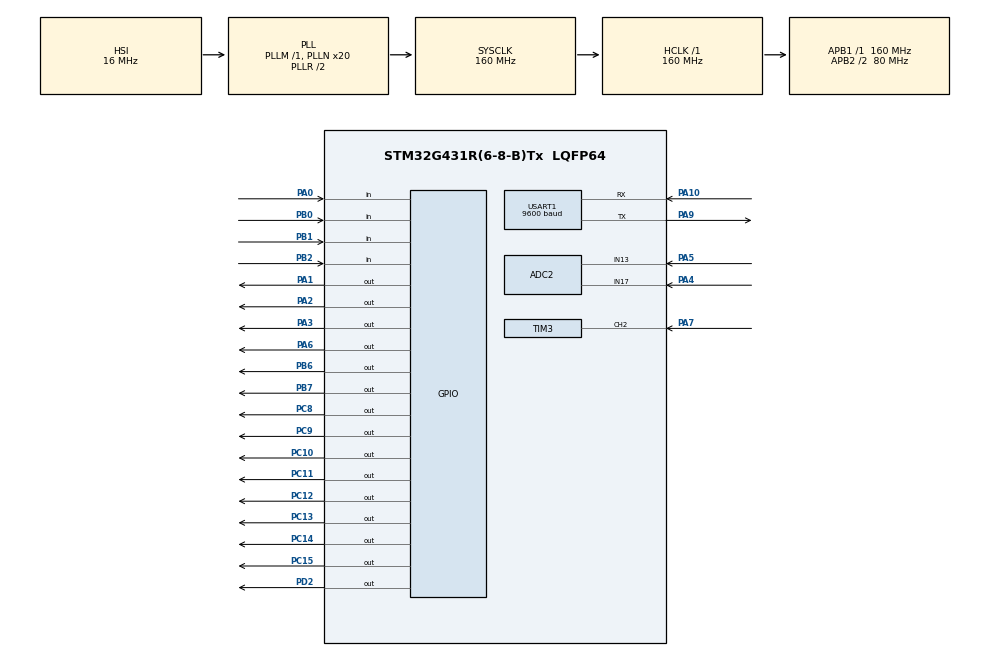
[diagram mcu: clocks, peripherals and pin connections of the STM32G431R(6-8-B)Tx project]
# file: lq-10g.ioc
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ADC2.Channel-0\#ChannelRegularConversion=ADC_CHANNEL_17
ADC2.Channel-1\#ChannelRegularConversion=ADC_CHANNEL_13
ADC2.ContinuousConvMode=DISABLE
ADC2.DMAContinuousRequests=DISABLE
ADC2.EOCSelection=ADC_EOC_SEQ_CONV
ADC2.ExternalTrigConv=ADC_SOFTWARE_START
ADC2.NbrOfConversion=2
ADC2.NbrOfConversionFlag=1
ADC2.OffsetNumber-0\#ChannelRegularConversion=ADC_OFFSET_NONE
ADC2.OffsetNumber-1\#ChannelRegularConversion=ADC_OFFSET_NONE
ADC2.Rank-0\#ChannelRegularConversion=1
ADC2.Rank-1\#ChannelRegularConversion=2
ADC2.SamplingTime-0\#ChannelRegularConversion=ADC_SAMPLETIME_2CYCLES_5
ADC2.SamplingTime-1\#ChannelRegularConversion=ADC_SAMPLETIME_2CYCLES_5
Dma.ADC2.1.Direction=DMA_PERIPH_TO_MEMORY
Dma.ADC2.1.EventEnable=DISABLE
Dma.ADC2.1.Instance=DMA2_Channel1
Dma.ADC2.1.MemDataAlignment=DMA_MDATAALIGN_HALFWORD
Dma.ADC2.1.MemInc=DMA_MINC_ENABLE
Dma.ADC2.1.Mode=DMA_CIRCULAR
Dma.ADC2.1.PeriphDataAlignment=DMA_PDATAALIGN_WORD
Dma.ADC2.1.PeriphInc=DMA_PINC_DISABLE
Dma.ADC2.1.Polarity=HAL_DMAMUX_REQ_GEN_RISING
Dma.ADC2.1.Priority=DMA_PRIORITY_LOW
Dma.ADC2.1.RequestNumber=1
Dma.ADC2.1.SignalID=NONE
Dma.ADC2.1.SyncEnable=DISABLE
Dma.ADC2.1.SyncPolarity=HAL_DMAMUX_SYNC_NO_EVENT
Dma.ADC2.1.SyncRequestNumber=1
Dma.ADC2.1.SyncSignalID=NONE
Dma.Request0=USART1_RX
Dma.Request1=ADC2
Dma.Request2=TIM3_CH2
Dma.TIM3_CH2.2.Direction=DMA_PERIPH_TO_MEMORY
Dma.TIM3_CH2.2.EventEnable=DISABLE
Dma.TIM3_CH2.2.Instance=DMA1_Channel2
Dma.TIM3_CH2.2.MemDataAlignment=DMA_MDATAALIGN_WORD
Dma.TIM3_CH2.2.MemInc=DMA_MINC_ENABLE
Dma.TIM3_CH2.2.Mode=DMA_NORMAL
Dma.TIM3_CH2.2.PeriphDataAlignment=DMA_PDATAALIGN_HALFWORD
Dma.TIM3_CH2.2.PeriphInc=DMA_PINC_DISABLE
Dma.TIM3_CH2.2.Polarity=HAL_DMAMUX_REQ_GEN_RISING
Dma.TIM3_CH2.2.Priority=DMA_PRIORITY_LOW
Dma.TIM3_CH2.2.RequestNumber=1
Dma.TIM3_CH2.2.SignalID=NONE
Dma.TIM3_CH2.2.SyncEnable=DISABLE
Dma.TIM3_CH2.2.SyncPolarity=HAL_DMAMUX_SYNC_NO_EVENT
Dma.TIM3_CH2.2.SyncRequestNumber=1
Dma.TIM3_CH2.2.SyncSignalID=NONE
Dma.USART1_RX.0.Direction=DMA_PERIPH_TO_MEMORY
Dma.USART1_RX.0.EventEnable=DISABLE
Dma.USART1_RX.0.Instance=DMA1_Channel1
Dma.USART1_RX.0.MemDataAlignment=DMA_MDATAALIGN_BYTE
Dma.USART1_RX.0.MemInc=DMA_MINC_ENABLE
Dma.USART1_RX.0.Mode=DMA_NORMAL
Dma.USART1_RX.0.PeriphDataAlignment=DMA_PDATAALIGN_BYTE
Dma.USART1_RX.0.PeriphInc=DMA_PINC_DISABLE
Dma.USART1_RX.0.Polarity=HAL_DMAMUX_REQ_GEN_RISING
Dma.USART1_RX.0.Priority=DMA_PRIORITY_LOW
Dma.USART1_RX.0.RequestNumber=1
Dma.USART1_RX.0.SignalID=NONE
Dma.USART1_RX.0.SyncEnable=DISABLE
Dma.USART1_RX.0.SyncPolarity=HAL_DMAMUX_SYNC_NO_EVENT
Dma.USART1_RX.0.SyncRequestNumber=1
Dma.USART1_RX.0.SyncSignalID=NONE
Mcu.Family=STM32G4
Mcu.Name=STM32G431R(6-8-B)Tx
Mcu.Package=LQFP64
NVIC.DMA1_Channel1_IRQn=true\:0\:0\:false\:false\:true\:false\:true\:true
NVIC.DMA1_Channel2_IRQn=true\:0\:0\:false\:false\:true\:false\:true\:true
NVIC.DMA2_Channel1_IRQn=true\:0\:0\:false\:false\:true\:false\:true\:true
NVIC.PriorityGroup=NVIC_PRIORITYGROUP_4
NVIC.TIM3_IRQn=true\:0\:0\:false\:false\:true\:true\:true\:true
NVIC.TIM6_DAC_IRQn=true\:0\:0\:false\:false\:true\:true\:true\:true
NVIC.TIM7_IRQn=true\:0\:0\:false\:false\:true\:true\:true\:true
NVIC.USART1_IRQn=true\:0\:0\:false\:false\:true\:true\:true\:true
PA0.Signal=GPIO_Input
PA1.Signal=GPIO_Output
PA10.Mode=Asynchronous
PA10.Signal=USART1_RX
PA13.Mode=Serial_Wire
PA13.Signal=SYS_JTMS-SWDIO
PA14.Mode=Serial_Wire
PA14.Signal=SYS_JTCK-SWCLK
PA2.Signal=GPIO_Output
PA3.Signal=GPIO_Output
PA4.Mode=IN17-Single-Ended
PA4.Signal=ADC2_IN17
PA5.Mode=IN13-Single-Ended
PA5.Signal=ADC2_IN13
PA6.Signal=GPIO_Output
PA7.Signal=S_TIM3_CH2
PA9.Mode=Asynchronous
PA9.Signal=USART1_TX
PB0.GPIO_Mode=GPIO_MODE_INPUT
PB0.GPIO_PuPd=GPIO_PULLUP
PB0.Signal=GPIO_Input
PB1.GPIO_Mode=GPIO_MODE_INPUT
PB1.GPIO_PuPd=GPIO_PULLUP
PB1.Signal=GPIO_Input
PB2.GPIO_Mode=GPIO_MODE_INPUT
PB2.GPIO_PuPd=GPIO_PULLUP
PB2.Signal=GPIO_Input
PB6.Signal=GPIO_Output
PB7.Signal=GPIO_Output
PC10.GPIO_ModeDefaultOutputPP=GPIO_MODE_OUTPUT_PP
PC10.GPIO_PuPd=GPIO_PULLUP
PC10.GPIO_Speed=GPIO_SPEED_FREQ_LOW
PC10.PinState=GPIO_PIN_SET
PC10.Signal=GPIO_Output
PC11.GPIO_ModeDefaultOutputPP=GPIO_MODE_OUTPUT_PP
PC11.GPIO_PuPd=GPIO_PULLUP
PC11.GPIO_Speed=GPIO_SPEED_FREQ_LOW
PC11.PinState=GPIO_PIN_SET
PC11.Signal=GPIO_Output
PC12.GPIO_ModeDefaultOutputPP=GPIO_MODE_OUTPUT_PP
PC12.GPIO_PuPd=GPIO_PULLUP
PC12.GPIO_Speed=GPIO_SPEED_FREQ_LOW
PC12.PinState=GPIO_PIN_SET
PC12.Signal=GPIO_Output
PC13.GPIO_ModeDefaultOutputPP=GPIO_MODE_OUTPUT_PP
PC13.GPIO_PuPd=GPIO_PULLUP
PC13.GPIO_Speed=GPIO_SPEED_FREQ_LOW
PC13.PinState=GPIO_PIN_SET
PC13.Signal=GPIO_Output
PC14-OSC32_IN.GPIO_ModeDefaultOutputPP=GPIO_MODE_OUTPUT_PP
PC14-OSC32_IN.GPIO_PuPd=GPIO_PULLUP
PC14-OSC32_IN.GPIO_Speed=GPIO_SPEED_FREQ_LOW
PC14-OSC32_IN.PinState=GPIO_PIN_SET
PC14-OSC32_IN.Signal=GPIO_Output
PC15-OSC32_OUT.GPIO_ModeDefaultOutputPP=GPIO_MODE_OUTPUT_PP
PC15-OSC32_OUT.GPIO_PuPd=GPIO_PULLUP
PC15-OSC32_OUT.GPIO_Speed=GPIO_SPEED_FREQ_LOW
PC15-OSC32_OUT.PinState=GPIO_PIN_SET
PC15-OSC32_OUT.Signal=GPIO_Output
PC8.GPIO_ModeDefaultOutputPP=GPIO_MODE_OUTPUT_PP
PC8.GPIO_PuPd=GPIO_PULLUP
PC8.GPIO_Speed=GPIO_SPEED_FREQ_LOW
PC8.PinState=GPIO_PIN_SET
PC8.Signal=GPIO_Output
PC9.GPIO_ModeDefaultOutputPP=GPIO_MODE_OUTPUT_PP
PC9.GPIO_PuPd=GPIO_PULLUP
PC9.GPIO_Speed=GPIO_SPEED_FREQ_LOW
PC9.PinState=GPIO_PIN_SET
PC9.Signal=GPIO_Output
PD2.GPIO_PuPd=GPIO_PULLUP
PD2.PinState=GPIO_PIN_SET
PD2.Signal=GPIO_Output
PF0-OSC_IN.Mode=HSE-External-Oscillator
PF0-OSC_IN.Signal=RCC_OSC_IN
PF1-OSC_OUT.Mode=HSE-External-Oscillator
PF1-OSC_OUT.Signal=RCC_OSC_OUT
ProjectManager.HeapSize=0x200
ProjectManager.StackSize=0x400
ProjectManager.TargetToolchain=MDK-ARM V5
RCC.ADC12Freq_Value=160000000
RCC.AHBFreq_Value=160000000
RCC.APB1Freq_Value=160000000
RCC.APB1TimFreq_Value=160000000
RCC.APB2CLKDivider=RCC_HCLK_DIV2
RCC.APB2Freq_Value=80000000
RCC.APB2TimFreq_Value=160000000
RCC.CortexFreq_Value=160000000
RCC.EXTERNAL_CLOCK_VALUE=12288000
RCC.HCLKFreq_Value=160000000
RCC.HSE_VALUE=8000000
RCC.HSI48_VALUE=48000000
RCC.HSI_VALUE=16000000
RCC.LSE_VALUE=32768
RCC.PLLN=20
RCC.SYSCLKFreq_VALUE=160000000
RCC.SYSCLKSource=RCC_SYSCLKSOURCE_PLLCLK
RCC.USART1CLockSelection=RCC_USART1CLKSOURCE_SYSCLK
RCC.USBFreq_Value=160000000
RCC.VCOOutputFreq_Value=320000000
SH.S_TIM3_CH2.0=TIM3_CH2,PWM_Input_2
TIM3.ICPolarity_1=TIM_INPUTCHANNELPOLARITY_FALLING
TIM3.Prescaler=159
TIM6.AutoReloadPreload=TIM_AUTORELOAD_PRELOAD_ENABLE
TIM6.PeriodNoDither=19999
TIM6.Prescaler=15999
TIM7.AutoReloadPreload=TIM_AUTORELOAD_PRELOAD_ENABLE
TIM7.PeriodNoDither=1999
TIM7.Prescaler=1599
TIM7.TIM_MasterOutputTrigger=TIM_TRGO_UPDATE
USART1.BaudRate=9600
USART1.VirtualMode-Asynchronous=VM_ASYNC
VP_SYS_VS_DBSignals.Mode=DisableDeadBatterySignals
VP_TIM6_VS_ClockSourceINT.Mode=Enable_Timer
VP_TIM7_VS_ClockSourceINT.Mode=Enable_Timer
board=custom

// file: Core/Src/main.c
/* USER CODE BEGIN Header */
/**
  ******************************************************************************
  * @file           : main.c
  * @brief          : Main program body
  ******************************************************************************
  * @attention
  *
  * Copyright (c) 2023 STMicroelectronics.
  * All rights reserved.
  *
  * This software is licensed under terms that can be found in the LICENSE file
  * in the root directory of this software component.
  * If no LICENSE file comes with this software, it is provided AS-IS.
  *
  ******************************************************************************
  */
/* USER CODE END Header */
#include "main.h"
#include "adc.h"
#include "dma.h"
#include "tim.h"
#include "usart.h"
#include "gpio.h"

/* USER CODE BEGIN Includes */
#include <stdio.h>
#include <stdlib.h>
#include <stdbool.h>
#include <stdbool.h>
#include <stdarg.h>
#include <string.h>
#include "lcd.h"
#include "i2c.h"
/* USER CODE END Includes */

/* USER CODE BEGIN PM */
#define lcd(x, s) LCD_DisplayStringLine(24 * x, (uint8_t *)s)
#define a1u() lcd(3, format("    A01: %.2f   ", adcIn[0] * 3.3f / 4096))
#define a2u() lcd(4, format("    A02: %.2f   ", adcIn[1] * 3.3f / 4096))
#define p2u() lcd(5, format("    PWM2:%d%%   ", pwmH[0] * 100 / pwmT[0]))
#define cgu() lcd(7, format("    N:   %d     ", changes))
#define lmu() lcd(3, format("    T: %d    ", lim));
#define chu() lcd(4, format("    X: %d    ", (int)adcCh2 + 1));
/* USER CODE END PM */

/* USER CODE BEGIN PV */

char	  	fmtBuf[32] 	= {0};
uint16_t 	adcIn[2]	= {0};
uint32_t	pwmT[10]	= {0};
uint32_t	pwmH[10]	= {0};
uint8_t		rxBuf[32]	= {0};
uint32_t	b1In		= 0xFFFFFFFF;
uint32_t	b2In		= 0xFFFFFFFF;
uint32_t	b3In		= 0xFFFFFFFF;
uint32_t	b4In		= 0xFFFFFFFF;
bool		b1a			= true;
bool		b2a			= true;
bool		b3a			= true;
bool		b4a			= true;

bool		para		= false;
bool		adcCh2		= false;
bool		selT		= true;

uint32_t	changes		= 0;
uint32_t	lim			= 30;

bool 		adcCh2t		= false;
uint32_t	limt		= 30;

/* USER CODE END PV */

void SystemClock_Config(void);
/* USER CODE BEGIN PFP */

void eeAdd(void);
uint16_t eeRead(void);
void num(uint8_t, uint8_t, uint8_t);
void render(void);
char *format(const char *, ...);
uint32_t filter(uint32_t *);

/* USER CODE END PFP */

int main(void)
{

  /* MCU Configuration--------------------------------------------------------*/

  /* Reset of all peripherals, Initializes the Flash interface and the Systick. */
  HAL_Init();

  /* Configure the system clock */
  SystemClock_Config();

  /* Initialize all configured peripherals */
  MX_GPIO_Init();
  MX_DMA_Init();
  MX_ADC2_Init();
  MX_USART1_UART_Init();
  MX_TIM3_Init();
  MX_TIM6_Init();
  MX_TIM7_Init();
  /* USER CODE BEGIN 2 */

	num(0x00, 0x00, 0x00);

	HAL_ADCEx_Calibration_Start(&hadc2, ADC_SINGLE_ENDED);
	HAL_ADC_Start_DMA(&hadc2, (uint32_t *)adcIn, 2);

//	HAL_TIM_IC_Start_DMA(&htim3, TIM_CHANNEL_1, pwmH, 1);
//	HAL_TIM_IC_Start_DMA(&htim3, TIM_CHANNEL_2, pwmT, 1); //pwm in
	HAL_TIM_IC_Start_IT(&htim3, TIM_CHANNEL_1);
	HAL_TIM_IC_Start_IT(&htim3, TIM_CHANNEL_2); //pwm in

	LCD_Init();
	LCD_SetBackColor(Black);
	LCD_SetTextColor(White);
	LCD_Clear(Black);
	render();

	HAL_TIM_Base_Start_IT(&htim6); //2s
	HAL_TIM_Base_Start_IT(&htim7); //btn in

	HAL_UARTEx_ReceiveToIdle_DMA(&huart1, rxBuf, 32);

  /* USER CODE END 2 */

  /* Infinite loop */
  while (1)
  {

  }
}

void SystemClock_Config(void)
{
  RCC_OscInitTypeDef RCC_OscInitStruct = {0};
  RCC_ClkInitTypeDef RCC_ClkInitStruct = {0};

  /** Configure the main internal regulator output voltage
  */
  HAL_PWREx_ControlVoltageScaling(PWR_REGULATOR_VOLTAGE_SCALE1_BOOST);

  /** Initializes the RCC Oscillators according to the specified parameters
  * in the RCC_OscInitTypeDef structure.
  */
  RCC_OscInitStruct.OscillatorType = RCC_OSCILLATORTYPE_HSI;
  RCC_OscInitStruct.HSIState = RCC_HSI_ON;
  RCC_OscInitStruct.HSICalibrationValue = RCC_HSICALIBRATION_DEFAULT;
  RCC_OscInitStruct.PLL.PLLState = RCC_PLL_ON;
  RCC_OscInitStruct.PLL.PLLSource = RCC_PLLSOURCE_HSI;
  RCC_OscInitStruct.PLL.PLLM = RCC_PLLM_DIV1;
  RCC_OscInitStruct.PLL.PLLN = 20;
  RCC_OscInitStruct.PLL.PLLP = RCC_PLLP_DIV2;
  RCC_OscInitStruct.PLL.PLLQ = RCC_PLLQ_DIV2;
  RCC_OscInitStruct.PLL.PLLR = RCC_PLLR_DIV2;
  if (HAL_RCC_OscConfig(&RCC_OscInitStruct) != HAL_OK)
  {
    Error_Handler();
  }

  /** Initializes the CPU, AHB and APB buses clocks
  */
  RCC_ClkInitStruct.ClockType = RCC_CLOCKTYPE_HCLK|RCC_CLOCKTYPE_SYSCLK
                              |RCC_CLOCKTYPE_PCLK1|RCC_CLOCKTYPE_PCLK2;
  RCC_ClkInitStruct.SYSCLKSource = RCC_SYSCLKSOURCE_PLLCLK;
  RCC_ClkInitStruct.AHBCLKDivider = RCC_SYSCLK_DIV1;
  RCC_ClkInitStruct.APB1CLKDivider = RCC_HCLK_DIV1;
  RCC_ClkInitStruct.APB2CLKDivider = RCC_HCLK_DIV2;

  if (HAL_RCC_ClockConfig(&RCC_ClkInitStruct, FLASH_LATENCY_4) != HAL_OK)
  {
    Error_Handler();
  }
}

/* USER CODE BEGIN 4 */

void HAL_UARTEx_RxEventCallback(UART_HandleTypeDef *huart, uint16_t size) {
	//TODO
}

void HAL_TIM_IC_CaptureCallback(TIM_HandleTypeDef *htim) {
	if(htim->Instance == TIM3 && htim->Channel == HAL_TIM_ACTIVE_CHANNEL_2) {
		pwmH[0] = HAL_TIM_ReadCapturedValue(&htim3, TIM_CHANNEL_1);
		pwmT[0] = HAL_TIM_ReadCapturedValue(&htim3, TIM_CHANNEL_2);
	}
}

void HAL_TIM_PeriodElapsedCallback(TIM_HandleTypeDef *htim) {
	if(htim->Instance == TIM7) { //50Hz

		register uint32_t temp = HAL_GPIO_ReadPin(GPIOB, GPIO_PIN_0);
		lcd(0, format("%d", temp));
		//b1In = (b1In << 1) ^ temp; // 0 = down
		//b2In = b2In << 1 & HAL_GPIO_ReadPin(GPIOB, GPIO_PIN_1);
		//b3In = b3In << 1 & HAL_GPIO_ReadPin(GPIOB, GPIO_PIN_2);
		//b4In = b4In << 1 & HAL_GPIO_ReadPin(GPIOA, GPIO_PIN_0);
		b1In = b1In << 1 | HAL_GPIO_ReadPin(GPIOB, GPIO_PIN_0);
		b2In = b2In << 1 | HAL_GPIO_ReadPin(GPIOB, GPIO_PIN_1);
		b3In = b3In << 1 | HAL_GPIO_ReadPin(GPIOB, GPIO_PIN_2);
		b4In = b4In << 1 | HAL_GPIO_ReadPin(GPIOA, GPIO_PIN_0);
		//if(!(b1In & 0x03) && b1a) {
		if(b1a && !(b1In & 0x00000003)) {
			b1a = false;
			if(para && (adcCh2t != adcCh2 || limt != lim) ) {
				eeAdd();
				adcCh2 = adcCh2t;
				lim = limt;
			}
			para = !para;
			render();
		}
		//else b1a = (b1In & 0x03); // released for 20ms+
		else b1a = b1In & 0x00000003;

		if(!para) {
			a1u();
			a2u();
			p2u();
			HAL_ADC_Start_DMA(&hadc2, (uint32_t *)adcIn, 2);
			return;
		}

		if(b2a && !(b2In & 0x00000003)) {
			b2a = false;
			selT = !selT;
		}
		else b2a =b2In & 0x03;

		if(!b3In || (b3a && !(b3In & 0x000000FF))) { //0.8s+
			b3a = false;
			if(selT) {
				if(++limt == 41) limt = 40;
				lmu();
			}
			else adcCh2t = !adcCh2t;
			chu();
		}
		else b3a = b3In & 0x03;

		if(!b4In || (b4a && !(b4In & 0x000000FF))) {
			b4a = false;
			if(selT) {
				if(--limt == 19) limt = 20;
				lmu();
			}
			else adcCh2t = !adcCh2t;
			chu();
		}
		else b4a = b4In & 0x03;

	}
}

inline void render() {
	LCD_Clear(Black);
	if(para) {
		lcd(1, "      Para  ");
		lmu();
		chu();
		return;
	}
	lcd(1, "       Main  ");
	a1u();
	a2u();
	p2u();
	//TODO
	cgu();
}

inline void eeAdd() {
	I2CStart();
	I2CSendByte(0xA0);
	I2CWaitAck();
	I2CSendByte(0x10);
	I2CWaitAck();
	I2CSendByte(++changes & 0x00FF);
	I2CWaitAck();
	I2CSendByte(changes >> 8);
	I2CStop();
}

inline uint16_t eeRead() {
	I2CStart();
	I2CSendByte(0xA0);
	I2CWaitAck();
	I2CSendByte(0x10);
	I2CWaitAck();
	I2CStop();
	I2CStart();
	I2CSendByte(0xA1);
	I2CWaitAck();
	changes = 0;
	changes = I2CReceiveByte();
	I2CSendAck();
	changes |= I2CReceiveByte() << 8;
	I2CSendNotAck();
	I2CStop();
	return changes;
}

void num(uint8_t n1, uint8_t n2, uint8_t n3) {
	HAL_GPIO_WritePin(GPIOA, GPIO_PIN_2, GPIO_PIN_RESET);
	bool *bit = (bool *)&n3;
	for(int i = 0; i < 8; i++, bit++) {
		HAL_GPIO_WritePin(GPIOA, GPIO_PIN_3, GPIO_PIN_RESET);
		HAL_GPIO_WritePin(GPIOA, GPIO_PIN_1, *bit);
		HAL_GPIO_WritePin(GPIOA, GPIO_PIN_3, GPIO_PIN_RESET);
		HAL_GPIO_WritePin(GPIOA, GPIO_PIN_3, GPIO_PIN_SET);
	}
	bit = (bool *)&n2;
	for(int i = 0; i < 8; i++, bit++) {
		HAL_GPIO_WritePin(GPIOA, GPIO_PIN_3, GPIO_PIN_RESET);
		HAL_GPIO_WritePin(GPIOA, GPIO_PIN_1, *bit);
		HAL_GPIO_WritePin(GPIOA, GPIO_PIN_3, GPIO_PIN_RESET);
		HAL_GPIO_WritePin(GPIOA, GPIO_PIN_3, GPIO_PIN_SET);
	}
	bit = (bool *)&n1;
	for(int i = 0; i < 8; i++, bit++) {
		HAL_GPIO_WritePin(GPIOA, GPIO_PIN_3, GPIO_PIN_RESET);
		HAL_GPIO_WritePin(GPIOA, GPIO_PIN_1, *bit);
		HAL_GPIO_WritePin(GPIOA, GPIO_PIN_3, GPIO_PIN_RESET);
		HAL_GPIO_WritePin(GPIOA, GPIO_PIN_3, GPIO_PIN_SET);
	}
	HAL_GPIO_WritePin(GPIOA, GPIO_PIN_2, GPIO_PIN_SET);
}

char *format(const char *fmt, ...) {
	va_list ap;
	va_start(ap, fmt);
	vsprintf(fmtBuf, fmt, ap);
	return fmtBuf;
}

uint32_t filter(uint32_t *data) {
	uint32_t *d = (uint32_t *)malloc(320);
	uint32_t *max = d, *min = d + 1, *p = d, sum = 0;
	memcpy(d, data, 320);
	for(int i = 0; i < 10; i++, p++) {
		if(*p > *max) max = p;
		if(*p < *min) min = p;
	}
	p = d;
	for(int i = 0; i < 10; i++, p++) {
		if(p == max || p == min) continue;
		sum += *p;
	}
	return sum >> 3;
}

/* USER CODE END 4 */

void Error_Handler(void)
{
  __disable_irq();
  while (1)
  {
  }
}
